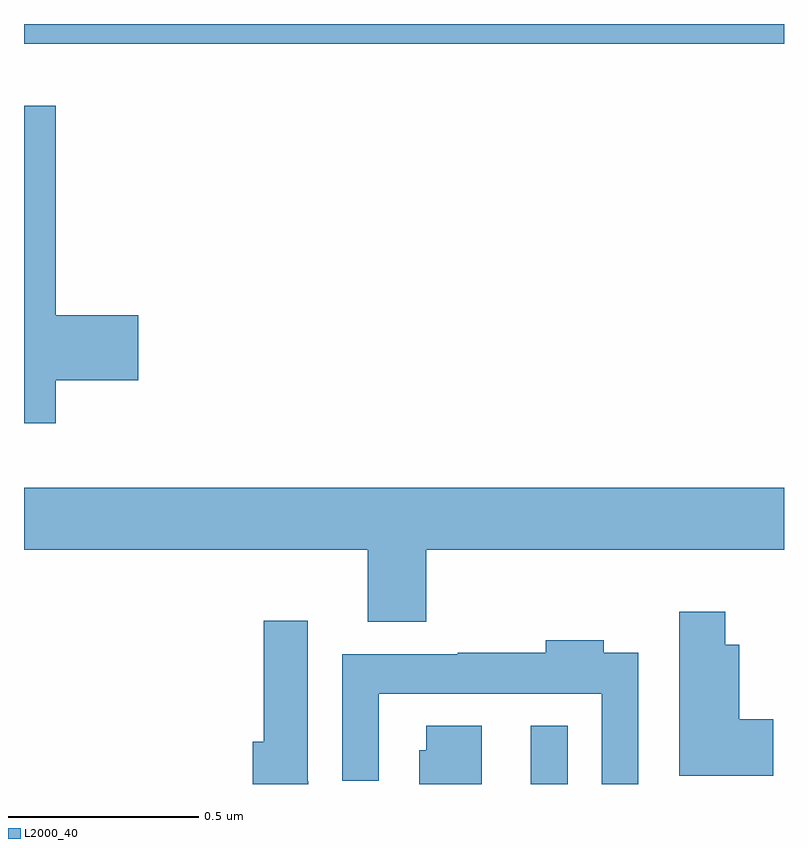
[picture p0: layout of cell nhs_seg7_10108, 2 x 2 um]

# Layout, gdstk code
import gdstk
lib = gdstk.Library(unit=1e-6, precision=1e-09)
def R(c, l, rs):  # rectangles x0, y0, x1, y1
    for r in rs: c.add(gdstk.rectangle(r[:2], r[2:], *l))
def P(c, l, *ps):  # polygons
    for p in ps: c.add(gdstk.Polygon(p, *l))
L2000_40 = (2000, 40)

nhs_seg7_10108 = lib.new_cell('nhs_seg7_10108')
R(nhs_seg7_10108, L2000_40, [(247.334,1000,247.431,1000.153), (246,1001.948,248,1002)])
P(nhs_seg7_10108, L2000_40, [(246.083,1001.063),(246.301,1001.063),(246.301,1001.234),(246.083,1001.234),(246.083,1001.785),(246,1001.785),(246,1000.95),(246.083,1000.95)],
  [(247.058,1000.616),(248,1000.616),(248,1000.78),(246,1000.78),(246,1000.616),(246.905,1000.616),(246.905,1000.427),(247.058,1000.427)],
  [(247.972,1000.17),(247.882,1000.17),(247.882,1000.366),(247.846,1000.366),(247.846,1000.453),(247.724,1000.453),(247.724,1000.022),(247.972,1000.022)],
  [(246.748,1000.007),(246.747,1000.007),(246.747,1000.429),(246.631,1000.429),(246.631,1000.111),(246.602,1000.111),(246.602,1000),(246.748,1000)],
  [(247.617,1000.345),(247.525,1000.345),(247.525,1000.378),(247.373,1000.378),(247.373,1000.345),(247.141,1000.345),(247.141,1000.342),(246.837,1000.342),(246.837,1000.008),(246.933,1000.008),(246.933,1000.238),(247.521,1000.238),(247.521,1000),(247.617,1000)],
  [(247.204,1000.153),(247.058,1000.153),(247.058,1000.089),(247.04,1000.089),(247.04,1000),(247.204,1000)])

lib.write_gds('nhs_seg7_10108.gds')
